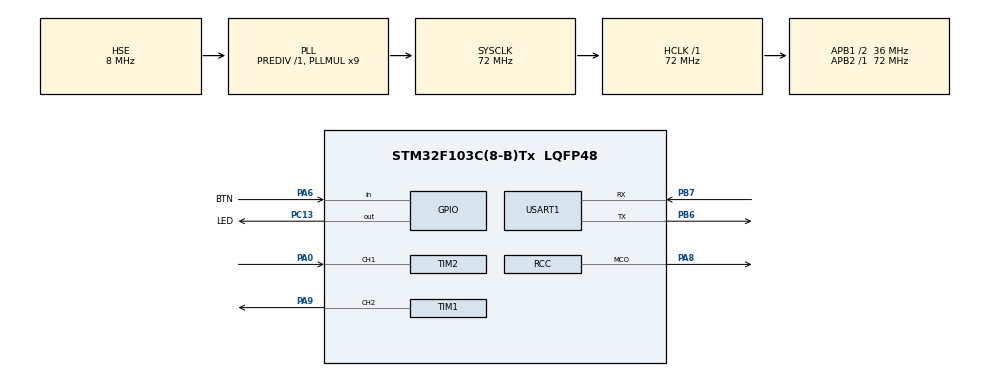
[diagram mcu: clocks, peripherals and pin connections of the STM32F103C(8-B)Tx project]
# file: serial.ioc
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Mcu.Family=STM32F1
Mcu.Name=STM32F103C(8-B)Tx
Mcu.Package=LQFP48
NVIC.PriorityGroup=NVIC_PRIORITYGROUP_4
NVIC.TIM2_IRQn=true\:0\:0\:false\:false\:true\:true\:true\:true
NVIC.USART1_IRQn=true\:0\:0\:false\:false\:true\:true\:true\:true
PA0-WKUP.Signal=S_TIM2_CH1_ETR
PA13.Mode=Serial_Wire
PA13.Signal=SYS_JTMS-SWDIO
PA14.Mode=Serial_Wire
PA14.Signal=SYS_JTCK-SWCLK
PA6.GPIO_Label=BTN
PA6.GPIO_PuPd=GPIO_PULLUP
PA6.Signal=GPIO_Input
PA8.Mode=Clock-out
PA8.Signal=RCC_MCO
PA9.Signal=S_TIM1_CH2
PB6.Mode=Asynchronous
PB6.Signal=USART1_TX
PB7.Mode=Asynchronous
PB7.Signal=USART1_RX
PC13-TAMPER-RTC.GPIO_Label=LED
PC13-TAMPER-RTC.Signal=GPIO_Output
PC14-OSC32_IN.Mode=LSE-External-Oscillator
PC14-OSC32_IN.Signal=RCC_OSC32_IN
PC15-OSC32_OUT.Mode=LSE-External-Oscillator
PC15-OSC32_OUT.Signal=RCC_OSC32_OUT
PD0-OSC_IN.Mode=HSE-External-Oscillator
PD0-OSC_IN.Signal=RCC_OSC_IN
PD1-OSC_OUT.Mode=HSE-External-Oscillator
PD1-OSC_OUT.Signal=RCC_OSC_OUT
ProjectManager.HeapSize=0x200
ProjectManager.StackSize=0x400
ProjectManager.TargetToolchain=STM32CubeIDE
RCC.AHBFreq_Value=72000000
RCC.APB1CLKDivider=RCC_HCLK_DIV2
RCC.APB1Freq_Value=36000000
RCC.APB1TimFreq_Value=72000000
RCC.APB2Freq_Value=72000000
RCC.APB2TimFreq_Value=72000000
RCC.HCLKFreq_Value=72000000
RCC.PLLMUL=RCC_PLL_MUL9
RCC.PLLSourceVirtual=RCC_PLLSOURCE_HSE
RCC.RCC_MCOSource=RCC_MCO1SOURCE_PLLCLK
RCC.SYSCLKFreq_VALUE=72000000
RCC.SYSCLKSource=RCC_SYSCLKSOURCE_PLLCLK
RCC.USBFreq_Value=72000000
SH.S_TIM1_CH2.0=TIM1_CH2,PWM Generation2 CH2
SH.S_TIM2_CH1_ETR.0=TIM2_CH1,PWM_Input_1
TIM1.Channel-PWM\ Generation2\ CH2=TIM_CHANNEL_2
TIM1.Period=1000-1
TIM1.Prescaler=72-1
TIM2.AutoReloadPreload=TIM_AUTORELOAD_PRELOAD_ENABLE
TIM2.CounterMode=TIM_COUNTERMODE_UP
TIM2.Period=10-1
TIM2.Prescaler=72-1
USART1.VirtualMode=VM_ASYNC
VP_TIM1_VS_ClockSourceINT.Mode=Internal
VP_TIM2_VS_ClockSourceINT.Mode=Internal
board=custom

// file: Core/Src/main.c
/* USER CODE BEGIN Header */
/**
  ******************************************************************************
  * @file           : main.c
  * @brief          : Main program body
  ******************************************************************************
  * @attention
  *
  * Copyright (c) 2023 STMicroelectronics.
  * All rights reserved.
  *
  * This software is licensed under terms that can be found in the LICENSE file
  * in the root directory of this software component.
  * If no LICENSE file comes with this software, it is provided AS-IS.
  *
  ******************************************************************************
  */
/* USER CODE END Header */
#include "main.h"
#include "tim.h"
#include "usart.h"
#include "gpio.h"

/* USER CODE BEGIN Includes */
#include "stdio.h"

#ifdef __GNUC__
#define PUTCHAR_PROTOTYPE int __io_putchar(int ch)
#else
#define PUTCHAR_PROTOTYPE int fputc(int ch, FILE *f)
#endif
PUTCHAR_PROTOTYPE
{
    HAL_UART_Transmit(&huart1 , (uint8_t *)&ch, 1, 0xFFFF);
    return ch;
}
/* USER CODE END Includes */

void SystemClock_Config(void);

/* USER CODE BEGIN 0 */
/*4.2.2*/
//int time = 0;

/*5.2.1*/
int Capture_mid_time;
int PWM_width;

/* USER CODE END 0 */

int main(void)
{

  /* MCU Configuration--------------------------------------------------------*/

  /* Reset of all peripherals, Initializes the Flash interface and the Systick. */
  HAL_Init();

  /* Configure the system clock */
  SystemClock_Config();

  /* Initialize all configured peripherals */
  MX_GPIO_Init();
  MX_USART1_UART_Init();
  MX_TIM2_Init();
  MX_TIM1_Init();
  /* USER CODE BEGIN 2 */
  /*4.2.2*/
//  HAL_TIM_Base_Start_IT(&htim2);

  /*5.1 5.2*/
	HAL_TIM_PWM_Start(&htim1,TIM_CHANNEL_2);
	__HAL_TIM_SET_COMPARE(&htim1, TIM_CHANNEL_2, 50);//修改脉冲宽度

	/* 5.2.1*/
	HAL_TIM_Base_Start_IT(&htim2);
	HAL_TIM_IC_Start_IT(&htim2,TIM_CHANNEL_1);
	HAL_TIM_IC_Start_IT(&htim2,TIM_CHANNEL_2);

	/*4.2.1*/
//	HAL_SetTickFreq(HAL_TICK_FREQ_100HZ);
//	HAL_SYSTICK_Config(SystemCoreClock / (10000U));
  /* USER CODE END 2 */

  /* Infinite loop */
  /* USER CODE BEGIN WHILE */
//  uint8_t str[] = "Hello World!\r\n";
  while (1)
  {
	  /*4.1*/
//	  HAL_UART_Transmit(&huart1,str, sizeof(str), 100 );
//	  printf("Hello World!\r\n");
//	  HAL_Delay(1000);

	  /*4.2.1*/
//	  if(HAL_GPIO_ReadPin(BTN_GPIO_Port, BTN_Pin) == GPIO_PIN_RESET){
////		  int start = HAL_GetTick();
//		  int time = 0;
//		  HAL_Delay(10);
//		  if(HAL_GPIO_ReadPin(BTN_GPIO_Port, BTN_Pin) == GPIO_PIN_RESET){
//			  while(HAL_GPIO_ReadPin(BTN_GPIO_Port, BTN_Pin) ==  GPIO_PIN_RESET){
//				  if(SysTick->CTRL & 1UL <<16){
//					  time++;
//				  }
//			  }
////			  int end =  HAL_GetTick();
//
////			  time = end -start;
//			  time += 10;
//			  printf("BTN time: %dms\r\n",time);
//		  }
//	  }

	  /* 4.2.2
	   * Function: HAL_TIM_PeriodElapsedCallback    CODE2/ START
	   * Global val: time*/
//	  if(HAL_GPIO_ReadPin(BTN_GPIO_Port, BTN_Pin) == GPIO_PIN_RESET){
//		  HAL_Delay(10);
//		  if(HAL_GPIO_ReadPin(BTN_GPIO_Port, BTN_Pin) == GPIO_PIN_RESET){
//			  while(HAL_GPIO_ReadPin(BTN_GPIO_Port, BTN_Pin) ==  GPIO_PIN_RESET);
////			  time += 10;
//			  printf("BTN time: %dms\r\n",time/100);
//			  time = 0;
//		  }
//	  }

	  /* 5  CODE2/Start  */
	  HAL_Delay(1000);
	  printf("pulse width: %d us\r\n ",Capture_mid_time); //修改了Capture_mid_time

    /* USER CODE END WHILE */

  }
}

void SystemClock_Config(void)
{
  RCC_OscInitTypeDef RCC_OscInitStruct = {0};
  RCC_ClkInitTypeDef RCC_ClkInitStruct = {0};

  /** Initializes the RCC Oscillators according to the specified parameters
  * in the RCC_OscInitTypeDef structure.
  */
  RCC_OscInitStruct.OscillatorType = RCC_OSCILLATORTYPE_HSE;
  RCC_OscInitStruct.HSEState = RCC_HSE_ON;
  RCC_OscInitStruct.HSEPredivValue = RCC_HSE_PREDIV_DIV1;
  RCC_OscInitStruct.HSIState = RCC_HSI_ON;
  RCC_OscInitStruct.PLL.PLLState = RCC_PLL_ON;
  RCC_OscInitStruct.PLL.PLLSource = RCC_PLLSOURCE_HSE;
  RCC_OscInitStruct.PLL.PLLMUL = RCC_PLL_MUL9;
  if (HAL_RCC_OscConfig(&RCC_OscInitStruct) != HAL_OK)
  {
    Error_Handler();
  }

  /** Initializes the CPU, AHB and APB buses clocks
  */
  RCC_ClkInitStruct.ClockType = RCC_CLOCKTYPE_HCLK|RCC_CLOCKTYPE_SYSCLK
                              |RCC_CLOCKTYPE_PCLK1|RCC_CLOCKTYPE_PCLK2;
  RCC_ClkInitStruct.SYSCLKSource = RCC_SYSCLKSOURCE_PLLCLK;
  RCC_ClkInitStruct.AHBCLKDivider = RCC_SYSCLK_DIV1;
  RCC_ClkInitStruct.APB1CLKDivider = RCC_HCLK_DIV2;
  RCC_ClkInitStruct.APB2CLKDivider = RCC_HCLK_DIV1;

  if (HAL_RCC_ClockConfig(&RCC_ClkInitStruct, FLASH_LATENCY_2) != HAL_OK)
  {
    Error_Handler();
  }
  HAL_RCC_MCOConfig(RCC_MCO, RCC_MCO1SOURCE_PLLCLK, RCC_MCODIV_1);
}

/* USER CODE BEGIN 4 */

/*4.2.2*/
void HAL_TIM_PeriodElapsedCallback(TIM_HandleTypeDef *htim)
{
	if(htim == &htim2){
		/* 4.2.2*/
//		if(HAL_GPIO_ReadPin(BTN_GPIO_Port, BTN_Pin) == GPIO_PIN_RESET)
//			time++;

		/* 5.2.1*/
		Capture_mid_time++;

	}

}

/*5.2.1*/
void HAL_TIM_IC_CaptureCallback(TIM_HandleTypeDef *htim)
{
	static int PWM_RisingCount=0,PWM_FallingCount=0;
	if(htim == &htim2)
	{
		if(htim2.Channel == HAL_TIM_ACTIVE_CHANNEL_1)
		{
			PWM_RisingCount = HAL_TIM_ReadCapturedValue(&htim2,TIM_CHANNEL_1);
			Capture_mid_time = 0;
		}
		else if(htim2.Channel == HAL_TIM_ACTIVE_CHANNEL_2)
		{
			PWM_FallingCount = HAL_TIM_ReadCapturedValue(&htim2,TIM_CHANNEL_2);
			if(PWM_RisingCount != 0 && PWM_FallingCount!= 0)
			{
				PWM_width      = (10-PWM_RisingCount+PWM_FallingCount)*1+(Capture_mid_time-1)*10;
				Capture_mid_time = 0;
				PWM_RisingCount = 0;
				PWM_FallingCount = 0;
			}
		}
	}
}

/* USER CODE END 4 */

void Error_Handler(void)
{
  __disable_irq();
  while (1)
  {
  }
}
